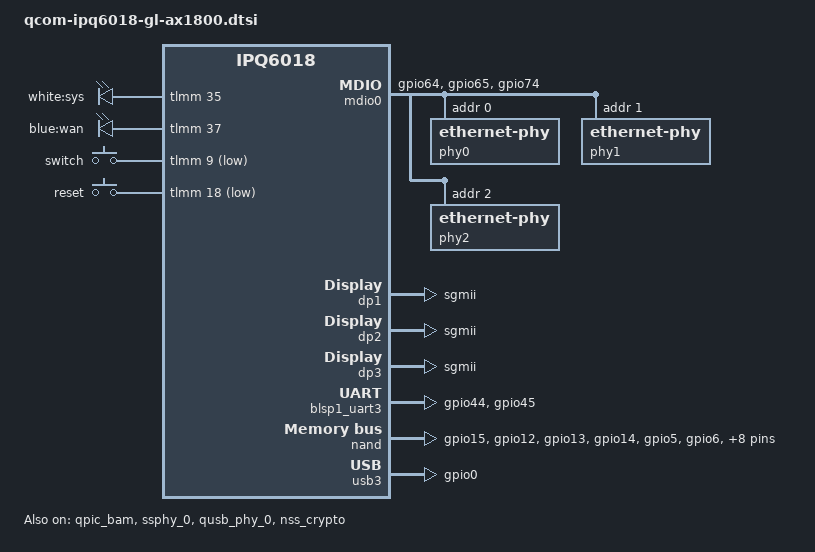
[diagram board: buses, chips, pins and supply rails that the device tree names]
/*
 * Copyright (c) 2019, The Linux Foundation. All rights reserved.
 *
 * Permission to use, copy, modify, and/or distribute this software for any
 * purpose with or without fee is hereby granted, provided that the above
 * copyright notice and this permission notice appear in all copies.
 *
 * THE SOFTWARE IS PROVIDED "AS IS" AND THE AUTHOR DISCLAIMS ALL WARRANTIES
 * WITH REGARD TO THIS SOFTWARE INCLUDING ALL IMPLIED WARRANTIES OF
 * MERCHANTABILITY AND FITNESS. IN NO EVENT SHALL THE AUTHOR BE LIABLE FOR
 * ANY SPECIAL, DIRECT, INDIRECT, OR CONSEQUENTIAL DAMAGES OR ANY DAMAGES
 * WHATSOEVER RESULTING FROM LOSS OF USE, DATA OR PROFITS, WHETHER IN AN
 * ACTION OF CONTRACT, NEGLIGENCE OR OTHER TORTIOUS ACTION, ARISING OUT OF
 * OR IN CONNECTION WITH THE USE OR PERFORMANCE OF THIS SOFTWARE.
 */

#include "qcom-ipq6018.dtsi"
#include <dt-bindings/input/input.h>

/ {
	#address-cells = <0x2>;
	#size-cells = <0x2>;
	interrupt-parent = <&intc>;
	qcom,msm-id = <0x1A5 0x0>;

	aliases {
		ethernet0 = "/soc/dp1";
		ethernet1 = "/soc/dp2";
		ethernet2 = "/soc/dp3";

		led-boot = &led_run;
		led-failsafe = &led_run;
		led-running = &led_run;
		led-upgrade = &led_run;
	};

	chosen {
		bootargs = "console=ttyMSM0,115200,n8 rw init=/init";
		bootargs-append = " swiotlb=1 coherent_pool=2M";
	};
};

&tlmm {
	uart_pins: uart_pins {
		mux {
			pins = "gpio44", "gpio45";
			function = "blsp2_uart";
			drive-strength = <8>;
			bias-pull-down;
		};
	};

	qpic_pins: qpic_pins {
		data_0 {
			pins = "gpio15";
			function = "qpic_pad0";
			drive-strength = <8>;
			bias-pull-down;
		};
		data_1 {
			pins = "gpio12";
			function = "qpic_pad1";
			drive-strength = <8>;
			bias-pull-down;
		};
		data_2 {
			pins = "gpio13";
			function = "qpic_pad2";
			drive-strength = <8>;
			bias-pull-down;
		};
		data_3 {
			pins = "gpio14";
			function = "qpic_pad3";
			drive-strength = <8>;
			bias-pull-down;
		};
		data_4 {
			pins = "gpio5";
			function = "qpic_pad4";
			drive-strength = <8>;
			bias-pull-down;
		};
		data_5 {
			pins = "gpio6";
			function = "qpic_pad5";
			drive-strength = <8>;
			bias-pull-down;
		};
		data_6 {
			pins = "gpio7";
			function = "qpic_pad6";
			drive-strength = <8>;
			bias-pull-down;
		};
		data_7 {
			pins = "gpio8";
			function = "qpic_pad7";
			drive-strength = <8>;
			bias-pull-down;
		};
		qpic_pad {
			pins = "gpio1", "gpio3", "gpio4",
			       "gpio10", "gpio11", "gpio17";
			function = "qpic_pad";
			drive-strength = <8>;
			bias-pull-down;
		};
	};

	button_pins: button_pins {
		switch_button {
			pins = "gpio9";
			function = "gpio";
			drive-strength = <8>;
			bias-pull-up;
		};
		reset_button {
			pins = "gpio18";
			function = "gpio";
			drive-strength = <8>;
			bias-pull-up;
		};
	};

	mdio_pins: mdio_pinmux {
		mux_0 {
			pins = "gpio64";
			function = "mdc";
			drive-strength = <8>;
			bias-pull-up;
		};
		mux_1 {
			pins = "gpio65";
			function = "mdio";
			drive-strength = <8>;
			bias-pull-up;
		};
		mux_2 {
			pins = "gpio74";
			function = "gpio";
			bias-pull-up;
		};
	};

	leds_pins: leds_pins {
		white {
			pins = "gpio35";
			function = "gpio";
			drive-strength = <8>;
			bias-pull-down;
		};
		blue {
			pins = "gpio37";
			function = "gpio";
			drive-strength = <8>;
			bias-pull-down;
		};
	};

	usb_pins: usb_pins {
		usb_pwr {
			pins = "gpio0";
			function = "gpio";
			bias-pull-up;
			output-high;
		};
	};
};

&soc {
	mdio0: mdio@90000 {
		pinctrl-0 = <&mdio_pins>;
		pinctrl-names = "default";
		phy-reset-gpio = <&tlmm 74 GPIO_ACTIVE_HIGH>;
		status = "ok";
		phy0: ethernet-phy@0 {
			reg = <0>;
		};
		phy1: ethernet-phy@1 {
			reg = <1>;
		};
		phy2: ethernet-phy@2 {
			reg = <2>;
		};
	};

	ess0: ess-switch@3a000000 {
		switch_cpu_bmp = <0x1>;  /* cpu port bitmap */
		switch_lan_bmp = <0x0c>; /* lan port bitmap */
		switch_wan_bmp = <0x02>; /* wan port bitmap */
		switch_inner_bmp = <0xc0>; /*inner port bitmap*/
		switch_mac_mode = <0x0>; /* mac mode for uniphy instance0*/
		switch_mac_mode1 = <0xff>; /* mac mode for uniphy instance1*/
		switch_mac_mode2 = <0xff>; /* mac mode for uniphy instance2*/
		qcom,port_phyinfo {
			port@0 {
				port_id = <1>;
				phy_address = <0>;
			};
			port@1 {
				port_id = <2>;
				phy_address = <1>;
			};
			port@2 {
				port_id = <3>;
				phy_address = <2>;
			};
		};
	};

	dp1 {
		device_type = "network";
		compatible = "qcom,nss-dp";
		qcom,id = <1>;
		reg = <0x3a001000 0x200>;
		qcom,mactype = <0>;
		local-mac-address = [000000000000];
		qcom,link-poll = <1>;
		qcom,phy-mdio-addr = <0>;
		phy-mode = "sgmii";
	};

	dp2 {
		device_type = "network";
		compatible = "qcom,nss-dp";
		qcom,id = <2>;
		reg = <0x3a001200 0x200>;
		qcom,mactype = <0>;
		local-mac-address = [000000000000];
		qcom,link-poll = <1>;
		qcom,phy-mdio-addr = <1>;
		phy-mode = "sgmii";
	};

	dp3 {
		device_type = "network";
		compatible = "qcom,nss-dp";
		qcom,id = <3>;
		reg = <0x3a001400 0x200>;
		qcom,mactype = <0>;
		local-mac-address = [000000000000];
		qcom,link-poll = <1>;
		qcom,phy-mdio-addr = <2>;
		phy-mode = "sgmii";
	};

	leds {
		compatible = "gpio-leds";
		pinctrl-0 = <&leds_pins>;
		pinctrl-names = "default";

		led_run: led@35 {
			label = "white:sys";
			gpios = <&tlmm 35 GPIO_ACTIVE_HIGH>;
			default-state = "on";
		};

		led@37 {
			label = "blue:wan";
			gpios = <&tlmm 37 GPIO_ACTIVE_HIGH>;
			default-state = "on";
		};
	};

	gpio_keys {
		compatible = "gpio-keys";
		pinctrl-0 = <&button_pins>;
		pinctrl-names = "default";

		switch {
			label = "switch";
			linux,code = <KEY_WPS_BUTTON>;
			gpios = <&tlmm 9 GPIO_ACTIVE_LOW>;
			linux,input-type = <1>;
			debounce-interval = <60>;
		};
		reset {
			label = "reset";
			linux,code = <KEY_RESTART>;
			gpios = <&tlmm 18 GPIO_ACTIVE_LOW>;
			linux,input-type = <1>;
			debounce-interval = <60>;
		};
	};
};

&blsp1_uart3 {
	pinctrl-0 = <&uart_pins>;
	pinctrl-names = "default";
	status = "ok";
};

&qpic_bam {
	status = "ok";
};

&nand {
	pinctrl-0 = <&qpic_pins>;
	pinctrl-names = "default";
	status = "ok";
};

&ssphy_0 {
	status = "ok";
};

&qusb_phy_0 {
	status = "ok";
};

&usb3 {
	pinctrl-0 = <&usb_pins>;
	pinctrl-names = "default";
	status = "ok";
};

&nss_crypto {
	status = "ok";
};

&q6_region {
	reg = <0x0 0x4ab00000 0x0 0x05500000>;
};

&CPU0 {
	operating-points = <
		/* kHz   uV (fixed) */
		864000   1100000
		1056000  1100000
		1200000  1100000
	>;
	clock-latency = <200000>;
};

&CPU1 {
	operating-points = <
		/* kHz   uV (fixed) */
		864000   1100000
		1056000  1100000
		1200000  1100000
	>;
	clock-latency = <200000>;
};

&CPU2 {
	operating-points = <
		/* kHz   uV (fixed) */
		864000   1100000
		1056000  1100000
		1200000  1100000
	>;
	clock-latency = <200000>;
};

&CPU3 {
	operating-points = <
		/* kHz   uV (fixed) */
		864000   1100000
		1056000  1100000
		1200000  1100000
	>;
	clock-latency = <200000>;
};
